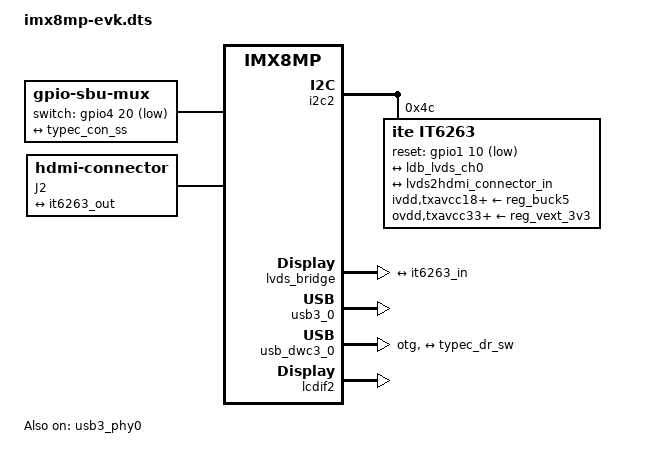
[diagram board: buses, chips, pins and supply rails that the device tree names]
#include <arm64/freescale/imx8mp-evk.dts>
#include <dt-bindings/usb/pd.h>
#include <dt-bindings/gpio/gpio.h>

&usb3_phy0 {
	status = "okay";
};

&iomuxc {
	pinctrl_typec_mux: typec1muxgrp {
		fsl,pins = <
			MX8MP_IOMUXC_SAI1_MCLK__GPIO4_IO20	0x16
		>;
	};
	pinctrl_typec: typec1grp {
		fsl,pins = <
			MX8MP_IOMUXC_SAI1_TXD7__GPIO4_IO19	0x1c4
		>;
	};
};

&i2c2 {
	ptn5110: tcpc@50 {
		compatible = "nxp,ptn5110";
		pinctrl-names = "default";
		pinctrl-0 = <&pinctrl_typec>;
		reg = <0x50>;
		interrupt-parent = <&gpio4>;
		interrupts = <19 8>;
		status = "disabled";
		port {
			typec_dr_sw: endpoint {
				remote-endpoint = <&usb3_drd_sw>;
			};
		};

		usb_con: connector {
			compatible = "usb-c-connector";
			label = "USB-C";
			power-role = "dual";
			data-role = "dual";
			try-power-role = "sink";
			source-pdos = <PDO_FIXED(5000, 3000, PDO_FIXED_USB_COMM)>;
			sink-pdos = <PDO_FIXED(5000, 3000, PDO_FIXED_USB_COMM)
					PDO_VAR(5000, 20000, 3000)>;
			op-sink-microwatt = <15000000>;
			self-powered;

			ports {
				#address-cells = <1>;
				#size-cells = <0>;

				port@1 {
					reg = <1>;
					typec_con_ss: endpoint {
						remote-endpoint = <&usb3_data_ss>;
					};
				};
			};
		};
	};

	it6263: hdmi@4c {
		compatible = "ite,it6263";
		reg = <0x4c>;
		data-mapping = "jeida-24";
		pinctrl-names = "default";
		pinctrl-0 = <&pinctrl_lvds_en>;
		reset-gpios = <&gpio1 10 GPIO_ACTIVE_LOW>;
		ivdd-supply = <&reg_buck5>;
		ovdd-supply = <&reg_vext_3v3>;
		txavcc18-supply = <&reg_buck5>;
		txavcc33-supply = <&reg_vext_3v3>;
		pvcc1-supply = <&reg_buck5>;
		pvcc2-supply = <&reg_buck5>;
		avcc-supply = <&reg_vext_3v3>;
		anvdd-supply = <&reg_buck5>;
		apvdd-supply = <&reg_buck5>;
		status = "okay";
		ports {
			#address-cells = <1>;
			#size-cells = <0>;
			status = "okay";
			port@0 {
				reg = <0>;
				status = "okay";
				it6263_in: endpoint {
					remote-endpoint = <&ldb_lvds_ch0>;
				};

			};

			port@2 {
				reg = <2>;
				status = "okay";
				it6263_out: endpoint {
					remote-endpoint = <&lvds2hdmi_connector_in>;
				};
			};

		};

	};

};

&lvds_bridge {
	status = "okay";
	ports {
	        port@1 {
			#address-cells = <1>;
			#size-cells = <0>;
			reg = <1>;
			status = "okay";
			ldb_lvds_ch0: endpoint {
				remote-endpoint = <&it6263_in>;
			};
		};
		port@2 {
			status = "disabled";
		};
	};
};

&usb3_phy0 {
	fsl,phy-tx-vref-tune = <0xe>;
	fsl,phy-tx-preemp-amp-tune = <3>;
	fsl,phy-tx-vboost-level = <5>;
	fsl,phy-comp-dis-tune = <7>;
	fsl,pcs-tx-deemph-3p5db = <0x21>;
	fsl,phy-pcs-tx-swing-full = <0x7f>;
	status = "okay";
};

&usb3_0 {
	status = "okay";
};

&usb_dwc3_0 {
	dr_mode = "otg";
	hnp-disable;
	srp-disable;
	adp-disable;
	usb-role-switch;
	role-switch-default-mode = "none";
	snps,dis-u1-entry-quirk;
	snps,dis-u2-entry-quirk;
	status = "okay";

	port {
		usb3_drd_sw: endpoint {
			remote-endpoint = <&typec_dr_sw>;
		};
	};
};

&lcdif1 {
	status = "disabled";
};
&lcdif2 {
	status = "okay";
};
&lcdif3 {
	status = "disabled";
};
&micfil  {
	status = "disabled";
};

&pcie  {
	status = "disabled";
};
&pcie_phy {
	status = "disabled";
};
&sai2  {
	status = "disabled";
};
&sai3  {
	status = "disabled";
};

/ {
	gpio-sbu-mux {
		compatible = "gpio-sbu-mux";
		pinctrl-names = "default";
		pinctrl-0 = <&pinctrl_typec_mux>;
		switch-gpios = <&gpio4 20 GPIO_ACTIVE_LOW>;
		orientation-switch;

		port {
			usb3_data_ss: endpoint {
				remote-endpoint = <&typec_con_ss>;
			};
		};
	};

        lvds-hdmi-connector {
                compatible = "hdmi-connector";
                label = "J2";
                type = "a";
		status = "okay";

                port {
                        lvds2hdmi_connector_in: endpoint {
                                remote-endpoint = <&it6263_out>;
                        };
                };
        };

	chosen {
		infix {
			factory-password-hash = "$5$mI/zpOAqZYKLC2WU$i7iPzZiIjOjrBF3NyftS9CCq8dfYwHwrmUK097Jca9A";
		};
	};
};
